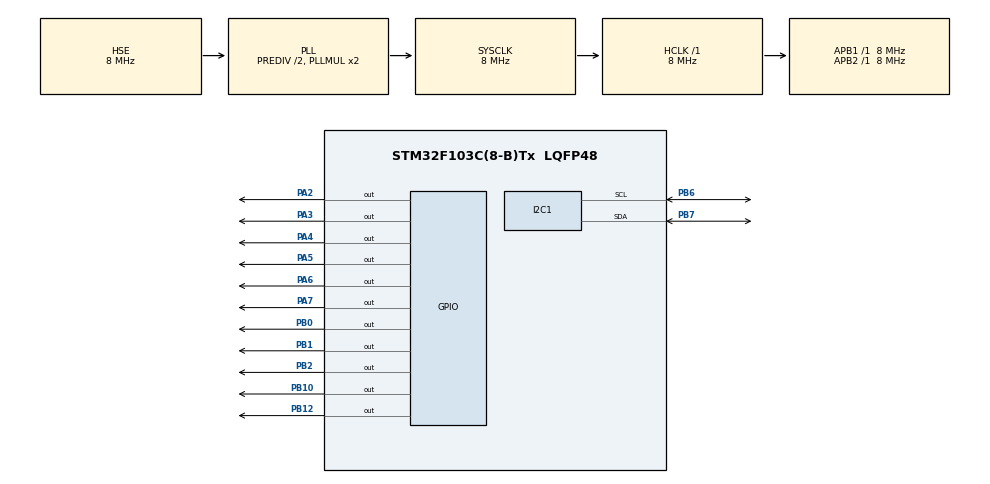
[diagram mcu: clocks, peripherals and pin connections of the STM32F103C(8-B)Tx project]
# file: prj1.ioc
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Mcu.Family=STM32F1
Mcu.Name=STM32F103C(8-B)Tx
Mcu.Package=LQFP48
NVIC.PriorityGroup=NVIC_PRIORITYGROUP_4
PA13.Mode=Serial_Wire
PA13.Signal=SYS_JTMS-SWDIO
PA14.Mode=Serial_Wire
PA14.Signal=SYS_JTCK-SWCLK
PA2.Signal=GPIO_Output
PA3.Signal=GPIO_Output
PA4.Signal=GPIO_Output
PA5.Signal=GPIO_Output
PA6.Signal=GPIO_Output
PA7.Signal=GPIO_Output
PB0.Signal=GPIO_Output
PB1.Signal=GPIO_Output
PB10.Signal=GPIO_Output
PB12.PinState=GPIO_PIN_SET
PB12.Signal=GPIO_Output
PB2.Signal=GPIO_Output
PB6.Mode=I2C
PB6.Signal=I2C1_SCL
PB7.Mode=I2C
PB7.Signal=I2C1_SDA
PD0-OSC_IN.Mode=HSE-External-Oscillator
PD0-OSC_IN.Signal=RCC_OSC_IN
PD1-OSC_OUT.Mode=HSE-External-Oscillator
PD1-OSC_OUT.Signal=RCC_OSC_OUT
ProjectManager.HeapSize=0x200
ProjectManager.StackSize=0x400
ProjectManager.TargetToolchain=STM32CubeIDE
RCC.AHBFreq_Value=8000000
RCC.APB1Freq_Value=8000000
RCC.APB1TimFreq_Value=8000000
RCC.APB2Freq_Value=8000000
RCC.APB2TimFreq_Value=8000000
RCC.HCLKFreq_Value=8000000
RCC.HSEDivPLL=RCC_HSE_PREDIV_DIV2
RCC.PLLSourceVirtual=RCC_PLLSOURCE_HSE
RCC.SYSCLKFreq_VALUE=8000000
RCC.SYSCLKSource=RCC_SYSCLKSOURCE_PLLCLK
RCC.USBFreq_Value=8000000
board=custom

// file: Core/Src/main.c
/* USER CODE BEGIN Header */
/**
  ******************************************************************************
  * @file           : main.c
  * @brief          : Main program body
  ******************************************************************************
  * @attention
  *
  * Copyright (c) 2025 STMicroelectronics.
  * All rights reserved.
  *
  * This software is licensed under terms that can be found in the LICENSE file
  * in the root directory of this software component.
  * If no LICENSE file comes with this software, it is provided AS-IS.
  *
  ******************************************************************************
  */
/* USER CODE END Header */
#include "main.h"
#include "i2c.h"
#include "gpio.h"

/* USER CODE BEGIN Includes */
#include "lcd8bit.h"
#include "max30100.h"
#include <stdio.h>
/* USER CODE END Includes */

/* USER CODE BEGIN PTD */
extern I2C_HandleTypeDef hi2c1;
/* USER CODE END PTD */

/* USER CODE BEGIN PD */
#define BUFFER_SIZE 100
uint16_t irBuffer[BUFFER_SIZE];
uint16_t redBuffer[BUFFER_SIZE];

/* USER CODE END PD */

/* USER CODE BEGIN PV */
int in = 0; //chỉ số vòng lặp dùng để lưu từng giá trị đo mới vào irBuffer và redBuffer
/* USER CODE END PV */

void SystemClock_Config(void);

/* USER CODE BEGIN 0 */
float calc_mean(uint16_t* buf) {
    uint32_t sum = 0;
    for (int i = 0; i < BUFFER_SIZE; i++) sum += buf[i];
    return (float)sum / BUFFER_SIZE;
}//Tính giá trị DC (giá trị trung bình) của tín hiệu.

float calc_ac(uint16_t* buf, float dc) {
    uint16_t max = 0, min = 0xFFFF;
    for (int i = 0; i < BUFFER_SIZE; i++) {
        if (buf[i] > max) max = buf[i];
        if (buf[i] < min) min = buf[i];
    }
    return (float)(max - min) / 2.0f;
}//Tính biên độ AC (dao động của tín hiệu)
float calc_spo2() {
    float dc_ir = calc_mean(irBuffer);
    float dc_red = calc_mean(redBuffer);//Tính giá trị trung bình DC của IR và RED
    float ac_ir = calc_ac(irBuffer, dc_ir);
    float ac_red = calc_ac(redBuffer, dc_red);//Tính biên độ AC
    float R = (ac_red / dc_red) / (ac_ir / dc_ir);//Tính chỉ số R
    float spo2 = 1.5958422f * R * R - 34.6596622f * R + 112.6898759f;//Tính SpO₂ theo công thức
    if (spo2 > 100.0f) spo2 = 100.0f;
    if (spo2 < 0.0f) spo2 = 0.0f;
    return spo2;
}
/* USER CODE END 0 */

int main(void)
{

  /* MCU Configuration--------------------------------------------------------*/

  /* Reset of all peripherals, Initializes the Flash interface and the Systick. */
  HAL_Init();

  /* Configure the system clock */
  SystemClock_Config();

  /* Initialize all configured peripherals */
  MX_GPIO_Init();
  MX_I2C1_Init();
  /* USER CODE BEGIN 2 */
  LCD_Init();
      LCD_Send_String("MAX30100 Ready");
      MAX30100_Init(&hi2c1);
      HAL_Delay(1000);
      LCD_Clear();
  /* USER CODE END 2 */

  /* Infinite loop */
  while (1)
  {

    /* USER CODE BEGIN 3 */
	uint16_t ir, red;
    MAX30100_ReadRaw(&hi2c1, &ir, &red);
    irBuffer[in] = ir;
    redBuffer[in] = red;
    in++;
    if (in >= BUFFER_SIZE) {
        float spo2 = calc_spo2();// gọi hàm để tính toán giá trị SpO₂.
        char line[17];
        snprintf(line, sizeof(line), "SpO2: %d", (int)spo2);//Dùng snprintf() để chuyển spo2 sang chuỗi.
        LCD_Clear();
        LCD_Set_Cursor(0, 0);
        LCD_Send_String(line);//Hiển thị kết quả lên LCD.
        in = 0;
    }
    HAL_Delay(10);
  }
  /* USER CODE END 3 */
}

void SystemClock_Config(void)
{
  RCC_OscInitTypeDef RCC_OscInitStruct = {0};
  RCC_ClkInitTypeDef RCC_ClkInitStruct = {0};

  /** Initializes the RCC Oscillators according to the specified parameters
  * in the RCC_OscInitTypeDef structure.
  */
  RCC_OscInitStruct.OscillatorType = RCC_OSCILLATORTYPE_HSE;
  RCC_OscInitStruct.HSEState = RCC_HSE_ON;
  RCC_OscInitStruct.HSEPredivValue = RCC_HSE_PREDIV_DIV2;
  RCC_OscInitStruct.HSIState = RCC_HSI_ON;
  RCC_OscInitStruct.PLL.PLLState = RCC_PLL_ON;
  RCC_OscInitStruct.PLL.PLLSource = RCC_PLLSOURCE_HSE;
  RCC_OscInitStruct.PLL.PLLMUL = RCC_PLL_MUL2;
  if (HAL_RCC_OscConfig(&RCC_OscInitStruct) != HAL_OK)
  {
    Error_Handler();
  }

  /** Initializes the CPU, AHB and APB buses clocks
  */
  RCC_ClkInitStruct.ClockType = RCC_CLOCKTYPE_HCLK|RCC_CLOCKTYPE_SYSCLK
                              |RCC_CLOCKTYPE_PCLK1|RCC_CLOCKTYPE_PCLK2;
  RCC_ClkInitStruct.SYSCLKSource = RCC_SYSCLKSOURCE_PLLCLK;
  RCC_ClkInitStruct.AHBCLKDivider = RCC_SYSCLK_DIV1;
  RCC_ClkInitStruct.APB1CLKDivider = RCC_HCLK_DIV1;
  RCC_ClkInitStruct.APB2CLKDivider = RCC_HCLK_DIV1;

  if (HAL_RCC_ClockConfig(&RCC_ClkInitStruct, FLASH_LATENCY_0) != HAL_OK)
  {
    Error_Handler();
  }
}

void Error_Handler(void)
{
  __disable_irq();
  while (1)
  {
  }
}
